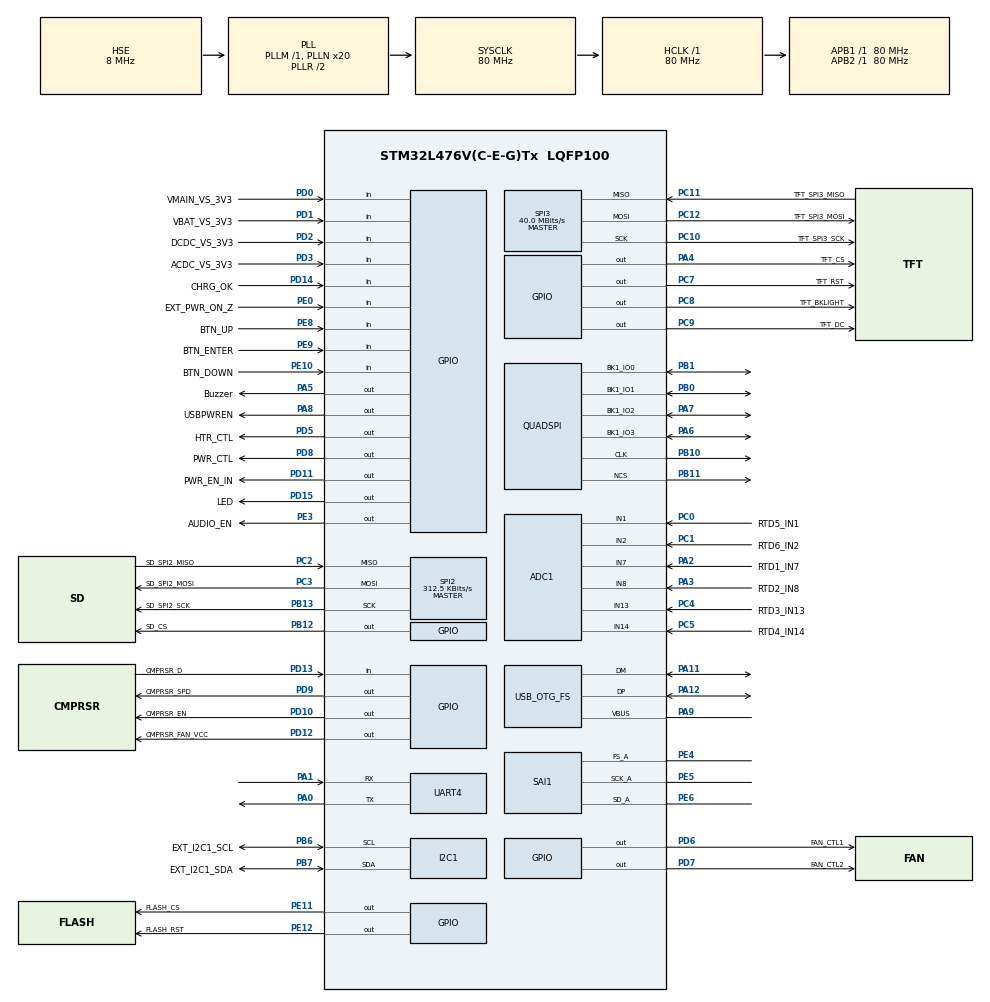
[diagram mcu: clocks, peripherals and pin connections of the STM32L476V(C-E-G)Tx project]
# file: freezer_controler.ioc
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ADC1.Channel-0\#ChannelRegularConversion=ADC_CHANNEL_1
ADC1.Channel-1\#ChannelRegularConversion=ADC_CHANNEL_2
ADC1.Channel-2\#ChannelRegularConversion=ADC_CHANNEL_8
ADC1.Channel-3\#ChannelRegularConversion=ADC_CHANNEL_7
ADC1.Channel-4\#ChannelRegularConversion=ADC_CHANNEL_13
ADC1.Channel-5\#ChannelRegularConversion=ADC_CHANNEL_14
ADC1.ClockPrescaler=ADC_CLOCK_ASYNC_DIV64
ADC1.ContinuousConvMode=ENABLE
ADC1.DMAContinuousRequests=ENABLE
ADC1.NbrOfConversion=6
ADC1.NbrOfConversionFlag=1
ADC1.OffsetNumber-0\#ChannelRegularConversion=ADC_OFFSET_NONE
ADC1.OffsetNumber-1\#ChannelRegularConversion=ADC_OFFSET_NONE
ADC1.OffsetNumber-2\#ChannelRegularConversion=ADC_OFFSET_NONE
ADC1.OffsetNumber-3\#ChannelRegularConversion=ADC_OFFSET_NONE
ADC1.OffsetNumber-4\#ChannelRegularConversion=ADC_OFFSET_NONE
ADC1.OffsetNumber-5\#ChannelRegularConversion=ADC_OFFSET_NONE
ADC1.Rank-0\#ChannelRegularConversion=1
ADC1.Rank-1\#ChannelRegularConversion=2
ADC1.Rank-2\#ChannelRegularConversion=3
ADC1.Rank-3\#ChannelRegularConversion=4
ADC1.Rank-4\#ChannelRegularConversion=5
ADC1.Rank-5\#ChannelRegularConversion=6
ADC1.SamplingTime-0\#ChannelRegularConversion=ADC_SAMPLETIME_640CYCLES_5
ADC1.SamplingTime-1\#ChannelRegularConversion=ADC_SAMPLETIME_640CYCLES_5
ADC1.SamplingTime-2\#ChannelRegularConversion=ADC_SAMPLETIME_640CYCLES_5
ADC1.SamplingTime-3\#ChannelRegularConversion=ADC_SAMPLETIME_640CYCLES_5
ADC1.SamplingTime-4\#ChannelRegularConversion=ADC_SAMPLETIME_640CYCLES_5
ADC1.SamplingTime-5\#ChannelRegularConversion=ADC_SAMPLETIME_640CYCLES_5
ADC1.master=1
CRC.DefaultPolynomialUse=DEFAULT_POLYNOMIAL_DISABLE
Dma.ADC1.1.Direction=DMA_PERIPH_TO_MEMORY
Dma.ADC1.1.Instance=DMA1_Channel1
Dma.ADC1.1.MemDataAlignment=DMA_MDATAALIGN_WORD
Dma.ADC1.1.MemInc=DMA_MINC_ENABLE
Dma.ADC1.1.Mode=DMA_CIRCULAR
Dma.ADC1.1.PeriphDataAlignment=DMA_PDATAALIGN_WORD
Dma.ADC1.1.PeriphInc=DMA_PINC_DISABLE
Dma.ADC1.1.Priority=DMA_PRIORITY_LOW
Dma.Request0=SPI3_TX
Dma.Request1=ADC1
Dma.SPI3_TX.0.Direction=DMA_MEMORY_TO_PERIPH
Dma.SPI3_TX.0.Instance=DMA2_Channel2
Dma.SPI3_TX.0.MemDataAlignment=DMA_MDATAALIGN_BYTE
Dma.SPI3_TX.0.MemInc=DMA_MINC_ENABLE
Dma.SPI3_TX.0.Mode=DMA_NORMAL
Dma.SPI3_TX.0.PeriphDataAlignment=DMA_PDATAALIGN_BYTE
Dma.SPI3_TX.0.PeriphInc=DMA_PINC_DISABLE
Dma.SPI3_TX.0.Priority=DMA_PRIORITY_LOW
FATFS._USE_LFN=3
FATFS._USE_MUTEX=0
FREERTOS.Tasks01=usbHostTask,0,1500,UsbRunTask,Default,NULL,Dynamic,NULL,NULL;ledTask,-2,128,LedRunTask,Default,NULL,Dynamic,NULL,NULL
FREERTOS.configTOTAL_HEAP_SIZE=10240
FREERTOS.configUSE_NEWLIB_REENTRANT=1
FREERTOS.configUSE_PREEMPTION=0
I2C1.Timing=0x10909CEC
Mcu.Family=STM32L4
Mcu.Name=STM32L476V(C-E-G)Tx
Mcu.Package=LQFP100
NVIC.DMA1_Channel1_IRQn=true\:5\:0\:false\:false\:true\:true\:false\:true\:true
NVIC.DMA2_Channel2_IRQn=true\:5\:0\:false\:false\:true\:true\:false\:true\:true
NVIC.OTG_FS_IRQn=true\:5\:0\:false\:false\:true\:true\:false\:true\:true
NVIC.PriorityGroup=NVIC_PRIORITYGROUP_4
PA0.Mode=Asynchronous
PA0.Signal=UART4_TX
PA1.Mode=Asynchronous
PA1.Signal=UART4_RX
PA11.Mode=Host_Only
PA11.Signal=USB_OTG_FS_DM
PA12.Mode=Host_Only
PA12.Signal=USB_OTG_FS_DP
PA2.GPIO_Label=RTD1_IN7
PA2.Signal=ADCx_IN7
PA3.GPIO_Label=RTD2_IN8
PA3.Signal=ADCx_IN8
PA4.GPIO_Label=TFT_CS
PA4.PinState=GPIO_PIN_SET
PA4.Signal=GPIO_Output
PA5.GPIO_Label=Buzzer
PA5.Signal=GPIO_Output
PA6.Mode=Single Bank
PA6.Signal=QUADSPI_BK1_IO3
PA7.Mode=Single Bank
PA7.Signal=QUADSPI_BK1_IO2
PA8.GPIO_Label=USBPWREN
PA8.Signal=GPIO_Output
PA9.Mode=Activate_VBUS
PA9.Signal=USB_OTG_FS_VBUS
PB0.Mode=Single Bank
PB0.Signal=QUADSPI_BK1_IO1
PB1.Mode=Single Bank
PB1.Signal=QUADSPI_BK1_IO0
PB10.Mode=Single Bank
PB10.Signal=QUADSPI_CLK
PB11.Mode=Single Bank
PB11.Signal=QUADSPI_NCS
PB12.GPIO_Label=SD_CS
PB12.Signal=GPIO_Output
PB13.GPIO_Label=SD_SPI2_SCK
PB13.Mode=Full_Duplex_Master
PB13.Signal=SPI2_SCK
PB6.GPIO_Label=EXT_I2C1_SCL
PB6.Mode=I2C
PB6.Signal=I2C1_SCL
PB7.GPIO_Label=EXT_I2C1_SDA
PB7.Mode=I2C
PB7.Signal=I2C1_SDA
PC0.GPIO_Label=RTD5_IN1
PC0.Signal=ADCx_IN1
PC1.GPIO_Label=RTD6_IN2
PC1.Signal=ADCx_IN2
PC10.GPIO_Label=TFT_SPI3_SCK
PC10.Mode=Full_Duplex_Master
PC10.Signal=SPI3_SCK
PC11.GPIO_Label=TFT_SPI3_MISO
PC11.Mode=Full_Duplex_Master
PC11.Signal=SPI3_MISO
PC12.GPIO_Label=TFT_SPI3_MOSI
PC12.Mode=Full_Duplex_Master
PC12.Signal=SPI3_MOSI
PC14-OSC32_IN\ (PC14).Mode=LSE-External-Oscillator
PC14-OSC32_IN\ (PC14).Signal=RCC_OSC32_IN
PC15-OSC32_OUT\ (PC15).Mode=LSE-External-Oscillator
PC15-OSC32_OUT\ (PC15).Signal=RCC_OSC32_OUT
PC2.GPIO_Label=SD_SPI2_MISO
PC2.Mode=Full_Duplex_Master
PC2.Signal=SPI2_MISO
PC3.GPIO_Label=SD_SPI2_MOSI
PC3.Mode=Full_Duplex_Master
PC3.Signal=SPI2_MOSI
PC4.GPIO_Label=RTD3_IN13
PC4.Signal=ADCx_IN13
PC5.GPIO_Label=RTD4_IN14
PC5.Signal=ADCx_IN14
PC7.GPIO_Label=TFT_RST
PC7.Signal=GPIO_Output
PC8.GPIO_Label=TFT_BKLIGHT
PC8.Signal=GPIO_Output
PC9.GPIO_Label=TFT_DC
PC9.Signal=GPIO_Output
PD0.GPIO_Label=VMAIN_VS_3V3
PD0.Signal=GPIO_Input
PD1.GPIO_Label=VBAT_VS_3V3
PD1.Signal=GPIO_Input
PD10.GPIO_Label=CMPRSR_EN
PD10.Signal=GPIO_Output
PD11.GPIO_Label=PWR_EN_IN
PD11.Signal=GPIO_Output
PD12.GPIO_Label=CMPRSR_FAN_VCC
PD12.Signal=GPIO_Output
PD13.GPIO_Label=CMPRSR_D
PD13.Signal=GPIO_Input
PD14.GPIO_Label=CHRG_OK
PD14.GPIO_PuPd=GPIO_PULLUP
PD14.Signal=GPIO_Input
PD15.GPIO_Label=LED
PD15.GPIO_PuPd=GPIO_PULLUP
PD15.Signal=GPIO_Output
PD2.GPIO_Label=DCDC_VS_3V3
PD2.Signal=GPIO_Input
PD3.GPIO_Label=ACDC_VS_3V3
PD3.Signal=GPIO_Input
PD5.GPIO_Label=HTR_CTL
PD5.Signal=GPIO_Output
PD6.GPIO_Label=FAN_CTL1
PD6.Signal=GPIO_Output
PD7.GPIO_Label=FAN_CTL2
PD7.Signal=GPIO_Output
PD8.GPIO_Label=PWR_CTL
PD8.Signal=GPIO_Output
PD9.GPIO_Label=CMPRSR_SPD
PD9.Signal=GPIO_Output
PE0.GPIO_Label=EXT_PWR_ON_Z
PE0.Signal=GPIO_Input
PE10.GPIO_Label=BTN_DOWN
PE10.GPIO_PuPd=GPIO_PULLUP
PE10.Signal=GPIO_Input
PE11.GPIO_Label=FLASH_CS
PE11.Signal=GPIO_Output
PE12.GPIO_Label=FLASH_RST
PE12.Signal=GPIO_Output
PE3.GPIO_Label=AUDIO_EN
PE3.Signal=GPIO_Output
PE4.Mode=SAI_A_Master
PE4.Signal=SAI1_FS_A
PE5.Mode=SAI_A_Master
PE5.Signal=SAI1_SCK_A
PE6.Mode=SAI_A_Master
PE6.Signal=SAI1_SD_A
PE8.GPIO_Label=BTN_UP
PE8.GPIO_PuPd=GPIO_PULLUP
PE8.Signal=GPIO_Input
PE9.GPIO_Label=BTN_ENTER
PE9.GPIO_PuPd=GPIO_PULLUP
PE9.Signal=GPIO_Input
PH0-OSC_IN\ (PH0).Mode=HSE-External-Oscillator
PH0-OSC_IN\ (PH0).Signal=RCC_OSC_IN
PH1-OSC_OUT\ (PH1).Mode=HSE-External-Oscillator
PH1-OSC_OUT\ (PH1).Signal=RCC_OSC_OUT
ProjectManager.HeapSize=0x200
ProjectManager.StackSize=0x400
ProjectManager.TargetToolchain=STM32CubeIDE
RCC.ADCFreq_Value=48000000
RCC.AHBFreq_Value=80000000
RCC.APB1Freq_Value=80000000
RCC.APB1TimFreq_Value=80000000
RCC.APB2Freq_Value=80000000
RCC.APB2TimFreq_Value=80000000
RCC.CortexFreq_Value=80000000
RCC.HCLKFreq_Value=80000000
RCC.HSE_VALUE=8000000
RCC.HSI_VALUE=16000000
RCC.MSI_VALUE=4000000
RCC.PLLN=20
RCC.PLLSAI1N=12
RCC.PLLSAI2N=16
RCC.PLLSourceVirtual=RCC_PLLSOURCE_HSE
RCC.SYSCLKFreq_VALUE=80000000
RCC.SYSCLKSource=RCC_SYSCLKSOURCE_PLLCLK
RCC.USBFreq_Value=48000000
RCC.VCOOutputFreq_Value=160000000
SAI1.ErrorAudioFreq-SAI_A_Master=-72.09 %
SAI1.Instance-SAI_A_Master=SAI$Index_Block_A
SAI1.MClockEnable-SAI_A_Master=SAI_MASTERCLOCK_DISABLE
SAI1.RealAudioFreq-SAI_A_Master=53.571 KHz
SAI1.VirtualMode-SAI_A_Master=VM_MASTER
SH.ADCx_IN1.0=ADC1_IN1,IN1-Single-Ended
SH.ADCx_IN13.0=ADC1_IN13,IN13-Single-Ended
SH.ADCx_IN14.0=ADC1_IN14,IN14-Single-Ended
SH.ADCx_IN2.0=ADC1_IN2,IN2-Single-Ended
SH.ADCx_IN7.0=ADC1_IN7,IN7-Single-Ended
SH.ADCx_IN8.0=ADC1_IN8,IN8-Single-Ended
SPI2.BaudRatePrescaler=SPI_BAUDRATEPRESCALER_256
SPI2.CalculateBaudRate=312.5 KBits/s
SPI2.DataSize=SPI_DATASIZE_8BIT
SPI2.Direction=SPI_DIRECTION_2LINES
SPI2.Mode=SPI_MODE_MASTER
SPI2.VirtualType=VM_MASTER
SPI3.BaudRatePrescaler=SPI_BAUDRATEPRESCALER_2
SPI3.CalculateBaudRate=40.0 MBits/s
SPI3.DataSize=SPI_DATASIZE_8BIT
SPI3.Direction=SPI_DIRECTION_2LINES
SPI3.Mode=SPI_MODE_MASTER
SPI3.VirtualType=VM_MASTER
USB_HOST.BSP.number=1
USB_HOST.USBH_HandleTypeDef=hUsbHostFS
USB_HOST.VirtualModeFS=Msc
USB_HOST0.BSP.STBoard=false
USB_HOST0.BSP.api=Unknown
USB_HOST0.BSP.instance=PA8
USB_HOST0.BSP.ip=GPIO
USB_HOST0.BSP.mode=Output
USB_HOST0.BSP.name=Drive_VBUS_FS
USB_HOST0.BSP.solution=PA8
USB_OTG_FS.VirtualMode=Host_Only
USB_OTG_FS.phy_itface=HCD_PHY_EMBEDDED
VP_CRC_VS_CRC.Mode=CRC_Activate
VP_FATFS_VS_Generic.Mode=User_defined
VP_FATFS_VS_USB.Mode=USB
VP_FREERTOS_VS_CMSIS_V1.Mode=CMSIS_V1
VP_USB_HOST_VS_USB_HOST_MSC_FS.Mode=MSC_FS
board=custom

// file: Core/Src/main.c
/* USER CODE BEGIN Header */
/**
  ******************************************************************************
  * @file           : main.c
  * @brief          : Main program body
  ******************************************************************************
  * @attention
  *
  * Copyright (c) 2023 STMicroelectronics.
  * All rights reserved.
  *
  * This software is licensed under terms that can be found in the LICENSE file
  * in the root directory of this software component.
  * If no LICENSE file comes with this software, it is provided AS-IS.
  *
  ******************************************************************************
  */
/* USER CODE END Header */
#include "main.h"
#include "cmsis_os.h"
#include "adc.h"
#include "crc.h"
#include "dma.h"
#include "fatfs.h"
#include "i2c.h"
#include "quadspi.h"
#include "sai.h"
#include "spi.h"
#include "usart.h"
#include "usb_host.h"
#include "gpio.h"

/* USER CODE BEGIN Includes */
#include <stdio.h>
#include "lcd_ui.h"
#include "event.h"
#include "DS1307.h"
#include "led.h"
#include "buzzer.h"
#include "RTD.h"
#include "board.h"
#include "lcd_interface.h"
#include "main_app.h"
#include "logging.h"
#include "bms.h"
#include "power_board.h"
#include "led_signal.h"
/* USER CODE END Includes */

void SystemClock_Config(void);
void PeriphCommonClock_Config(void);
void MX_FREERTOS_Init(void);

/* USER CODE BEGIN 0 */
#include "lcd_interface.h"
extern lcd_inter_t setting;
/* USER CODE END 0 */

int main(void)
{

  /* MCU Configuration--------------------------------------------------------*/

  /* Reset of all peripherals, Initializes the Flash interface and the Systick. */
  HAL_Init();

  /* Configure the system clock */
  SystemClock_Config();

/* Configure the peripherals common clocks */
  PeriphCommonClock_Config();

  /* Initialize all configured peripherals */
  MX_GPIO_Init();
  MX_DMA_Init();
  MX_ADC1_Init();
  MX_SPI2_Init();
  MX_FATFS_Init();
  MX_SPI3_Init();
  MX_I2C1_Init();
  MX_CRC_Init();
  MX_QUADSPI_Init();
  MX_SAI1_Init();
  MX_UART4_Init();
  /* USER CODE BEGIN 2 */
  printf("\nApplication started!");
  pwr_ctrl_on(); //On power 5V
  logging_init();
  logging_write("1:log.csv", &setting);
  event_init();
  //RTD temperature sensor
  rtd_init();
  //led library
  led_init();
  //Buzzer
  buzzer_init();

  //Init i2c periph for DS1307
  DS1307_Init(&hi2c1);

  /* USER CODE END 2 */

  /* Call init function for freertos objects (in freertos.c) */
  MX_FREERTOS_Init();

  /* Start scheduler */
  osKernelStart();

  /* We should never get here as control is now taken by the scheduler */
  /* Infinite loop */
  /* USER CODE BEGIN WHILE */
  while (1)
  {
//	 event_run_task();
    /* USER CODE END WHILE */

  }
}

void SystemClock_Config(void)
{
  RCC_OscInitTypeDef RCC_OscInitStruct = {0};
  RCC_ClkInitTypeDef RCC_ClkInitStruct = {0};

  /** Configure the main internal regulator output voltage
  */
  if (HAL_PWREx_ControlVoltageScaling(PWR_REGULATOR_VOLTAGE_SCALE1) != HAL_OK)
  {
    Error_Handler();
  }

  /** Initializes the RCC Oscillators according to the specified parameters
  * in the RCC_OscInitTypeDef structure.
  */
  RCC_OscInitStruct.OscillatorType = RCC_OSCILLATORTYPE_HSE;
  RCC_OscInitStruct.HSEState = RCC_HSE_ON;
  RCC_OscInitStruct.PLL.PLLState = RCC_PLL_ON;
  RCC_OscInitStruct.PLL.PLLSource = RCC_PLLSOURCE_HSE;
  RCC_OscInitStruct.PLL.PLLM = 1;
  RCC_OscInitStruct.PLL.PLLN = 20;
  RCC_OscInitStruct.PLL.PLLP = RCC_PLLP_DIV7;
  RCC_OscInitStruct.PLL.PLLQ = RCC_PLLQ_DIV2;
  RCC_OscInitStruct.PLL.PLLR = RCC_PLLR_DIV2;
  if (HAL_RCC_OscConfig(&RCC_OscInitStruct) != HAL_OK)
  {
    Error_Handler();
  }

  /** Initializes the CPU, AHB and APB buses clocks
  */
  RCC_ClkInitStruct.ClockType = RCC_CLOCKTYPE_HCLK|RCC_CLOCKTYPE_SYSCLK
                              |RCC_CLOCKTYPE_PCLK1|RCC_CLOCKTYPE_PCLK2;
  RCC_ClkInitStruct.SYSCLKSource = RCC_SYSCLKSOURCE_PLLCLK;
  RCC_ClkInitStruct.AHBCLKDivider = RCC_SYSCLK_DIV1;
  RCC_ClkInitStruct.APB1CLKDivider = RCC_HCLK_DIV1;
  RCC_ClkInitStruct.APB2CLKDivider = RCC_HCLK_DIV1;

  if (HAL_RCC_ClockConfig(&RCC_ClkInitStruct, FLASH_LATENCY_4) != HAL_OK)
  {
    Error_Handler();
  }
}

void PeriphCommonClock_Config(void)
{
  RCC_PeriphCLKInitTypeDef PeriphClkInit = {0};

  /** Initializes the peripherals clock
  */
  PeriphClkInit.PeriphClockSelection = RCC_PERIPHCLK_SAI1|RCC_PERIPHCLK_USB
                              |RCC_PERIPHCLK_ADC;
  PeriphClkInit.Sai1ClockSelection = RCC_SAI1CLKSOURCE_PLLSAI1;
  PeriphClkInit.AdcClockSelection = RCC_ADCCLKSOURCE_PLLSAI1;
  PeriphClkInit.UsbClockSelection = RCC_USBCLKSOURCE_PLLSAI1;
  PeriphClkInit.PLLSAI1.PLLSAI1Source = RCC_PLLSOURCE_HSE;
  PeriphClkInit.PLLSAI1.PLLSAI1M = 1;
  PeriphClkInit.PLLSAI1.PLLSAI1N = 12;
  PeriphClkInit.PLLSAI1.PLLSAI1P = RCC_PLLP_DIV7;
  PeriphClkInit.PLLSAI1.PLLSAI1Q = RCC_PLLQ_DIV2;
  PeriphClkInit.PLLSAI1.PLLSAI1R = RCC_PLLR_DIV2;
  PeriphClkInit.PLLSAI1.PLLSAI1ClockOut = RCC_PLLSAI1_SAI1CLK|RCC_PLLSAI1_48M2CLK
                              |RCC_PLLSAI1_ADC1CLK;
  if (HAL_RCCEx_PeriphCLKConfig(&PeriphClkInit) != HAL_OK)
  {
    Error_Handler();
  }
}

/* USER CODE BEGIN 4 */
void __io_putchar(uint8_t ch)
{
	HAL_UART_Transmit(&huart4, &ch, 1, 10);
}
int _write(int file, char *ptr, int len)
{
	(void)file;
	 int DataIdx;

	  for (DataIdx = 0; DataIdx < len; DataIdx++)
	  {
	    __io_putchar(*ptr++);
	  }
	 setbuf(stdout, NULL);
	 return len;
}
/* USER CODE END 4 */

void Error_Handler(void)
{
  __disable_irq();
  while (1)
  {
  }
}

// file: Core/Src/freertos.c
/* USER CODE BEGIN Header */
/**
  ******************************************************************************
  * File Name          : freertos.c
  * Description        : Code for freertos applications
  ******************************************************************************
  * @attention
  *
  * Copyright (c) 2023 STMicroelectronics.
  * All rights reserved.
  *
  * This software is licensed under terms that can be found in the LICENSE file
  * in the root directory of this software component.
  * If no LICENSE file comes with this software, it is provided AS-IS.
  *
  ******************************************************************************
  */
/* USER CODE END Header */

#include "FreeRTOS.h"
#include "task.h"
#include "main.h"
#include "cmsis_os.h"

/* USER CODE BEGIN Includes */
#include "event.h"
#include "led.h"
#include "bms.h"
#include "main_app.h"
#include "power_board.h"
/* USER CODE END Includes */

/* USER CODE BEGIN Variables */
osThreadId eventTaskHandle;
osThreadId ledTaskHandle;
/* USER CODE END Variables */
osThreadId usbHostTaskHandle;
osThreadId ledTaskHandle;
osThreadId eventTaskHandle;

/* USER CODE BEGIN FunctionPrototypes */
extern void MX_USB_HOST_Process(void);
/* USER CODE END FunctionPrototypes */

void UsbRunTask(void const * argument);
void LedRunTask(void const * argument);
void EventRunTask(void const * argument);

extern void MX_USB_HOST_Init(void);
void MX_FREERTOS_Init(void); /* (MISRA C 2004 rule 8.1) */

/* GetIdleTaskMemory prototype (linked to static allocation support) */
void vApplicationGetIdleTaskMemory( StaticTask_t **ppxIdleTaskTCBBuffer, StackType_t **ppxIdleTaskStackBuffer, uint32_t *pulIdleTaskStackSize );

/* USER CODE BEGIN GET_IDLE_TASK_MEMORY */
static StaticTask_t xIdleTaskTCBBuffer;
static StackType_t xIdleStack[configMINIMAL_STACK_SIZE];

void vApplicationGetIdleTaskMemory( StaticTask_t **ppxIdleTaskTCBBuffer, StackType_t **ppxIdleTaskStackBuffer, uint32_t *pulIdleTaskStackSize )
{
  *ppxIdleTaskTCBBuffer = &xIdleTaskTCBBuffer;
  *ppxIdleTaskStackBuffer = &xIdleStack[0];
  *pulIdleTaskStackSize = configMINIMAL_STACK_SIZE;
  /* place for user code */
}
/* USER CODE END GET_IDLE_TASK_MEMORY */

void MX_FREERTOS_Init(void) {

  /* Create the thread(s) */
  /* definition and creation of usbHostTask */
  osThreadDef(usbHostTask, UsbRunTask, osPriorityNormal, 0, 1024);
  usbHostTaskHandle = osThreadCreate(osThread(usbHostTask), NULL);

  /* definition and creation of ledTask */
  osThreadDef(ledTask, LedRunTask, osPriorityLow, 0, 128);
  ledTaskHandle = osThreadCreate(osThread(ledTask), NULL);

  /* definition and creation of eventTask */
  osThreadDef(eventTask, EventRunTask, osPriorityLow, 0, 1024);
  eventTaskHandle = osThreadCreate(osThread(eventTask), NULL);

}

void UsbRunTask(void const * argument)
{
  /* init code for USB_HOST */
  MX_USB_HOST_Init();
  /* USER CODE BEGIN UsbRunTask */
  /* Infinite loop */
  for(;;)
  {
	  MX_USB_HOST_Process();
	  osDelay(1);
  }
  /* USER CODE END UsbRunTask */
}

void LedRunTask(void const * argument)
{
  /* USER CODE BEGIN LedRunTask */
  /* Infinite loop */
  for(;;)
  {
	  led_task_interrupt(1);
	  osDelay(10);
  }
  /* USER CODE END LedRunTask */
}

void EventRunTask(void const * argument)
{
  /* USER CODE BEGIN EventRunTask */
  ext_pwr_enable(); // On power for BQ25731
  HAL_Delay(10);
  bms_init();
  main_app_init();
  /* Infinite loop */
  for(;;)
  {
	  event_run_task_rtos();
	  osDelay(1);
  }
  /* USER CODE END EventRunTask */
}
